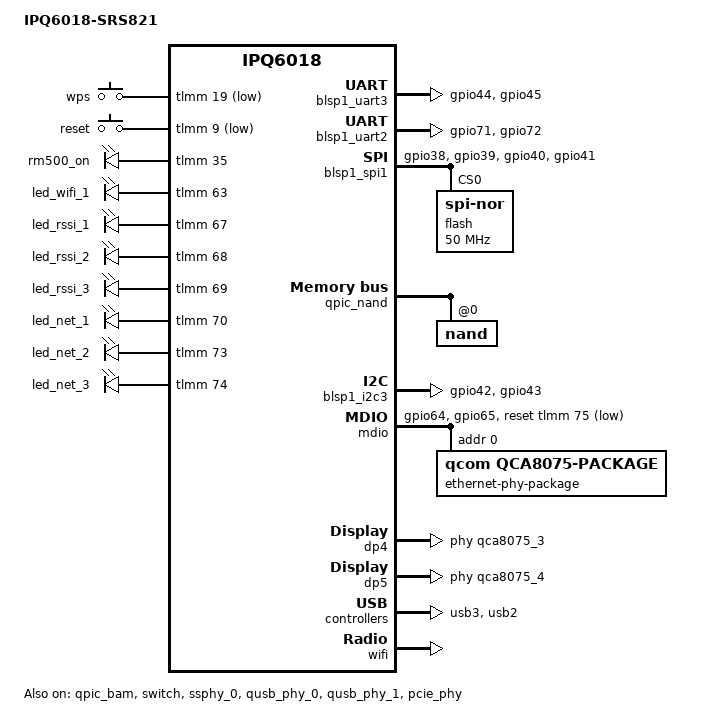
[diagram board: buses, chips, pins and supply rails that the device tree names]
// SPDX-License-Identifier: GPL-2.0-or-later
// Device Tree Source for Ruijie IPQ6018-based router
// Generated from live DTB dump
// Board: qcom,ipq6018-cp01-c1 variant
// SoC:   Qualcomm IPQ6018 (4x Cortex-A53, 800 MHz)
// RAM:   512 MiB
// Flash: 256 MiB NAND (QPIC)
// WiFi:  IPQ6018 integrated (2.4/5 GHz) + optional QCN9000 PCIe
// ETH:   5x SGMII via QCA ESS-SWITCH (dp1-dp5)
// USB:   1x USB3 + 1x USB2
// PCIe:  1x Gen3

/dts-v1/;

#include "ipq6018-512m.dtsi"
#include "ipq6018-ess.dtsi"
#include "ipq6018-nss.dtsi"
#include <dt-bindings/gpio/gpio.h>
#include <dt-bindings/input/input.h>
#include <dt-bindings/leds/common.h>

/ {
	model = "IPQ6018-SRS821";
	compatible = "smwave,srs821", "qcom,ipq6018";

	aliases {
		serial0   = &blsp1_uart3;   /* /soc/serial@78b1000 — console */
		serial2   = &blsp1_uart2;   /* /soc/serial@78b0000 */
	};

	chosen {
		stdout-path = "serial0:115200n8";
		bootargs-append = " root=/dev/ubiblock0_1 rootfstype=squashfs rootwait";
	};

	/*
	 * GPIO buttons
	 * WPS:   GPIO 19 (active-low)
	 * Reset: GPIO 9  (active-low)
	 */
	gpio-keys {
		compatible = "gpio-keys";
		pinctrl-0 = <&button_pins>;
		pinctrl-names = "default";

		wps {
			label = "wps";
			linux,code = <KEY_WPS_BUTTON>;
			gpios = <&tlmm 19 GPIO_ACTIVE_LOW>;
			linux,input-type = <EV_KEY>;
			debounce-interval = <60>;
		};

		reset {
			label = "reset";
			linux,code = <KEY_RESTART>;
			gpios = <&tlmm 9 GPIO_ACTIVE_LOW>;
			linux,input-type = <EV_KEY>;
			debounce-interval = <60>;
		};
	};

	/*
	 * GPIO LEDs
	 * GPIO 35: RM500 modem power indicator (active-high, default on)
	 * GPIO 63: Wi-Fi LED        (active-high)
	 * GPIO 67: RSSI bar 1       (active-high)
	 * GPIO 68: RSSI bar 2       (active-high)
	 * GPIO 69: RSSI bar 3       (active-high)
	 * GPIO 70: Net LED 1        (active-high)
	 * GPIO 73: Net LED 2        (active-high)
	 * GPIO 74: Net LED 3        (active-high)
	 */
	gpio-leds {
		compatible = "gpio-leds";
		pinctrl-0 = <&leds_pins>;
		pinctrl-names = "default";

		rm500_on {
			label = "rm500_on";
			gpios = <&tlmm 35 GPIO_ACTIVE_HIGH>;
			linux,default-trigger = "rm500_on";
			default-state = "on";
		};

		led_wifi_1 {
			label = "led_wifi_1";
			gpios = <&tlmm 63 GPIO_ACTIVE_HIGH>;
			linux,default-trigger = "led_wifi_1";
			default-state = "off";
		};

		led_rssi_1 {
			label = "led_rssi_1";
			gpios = <&tlmm 67 GPIO_ACTIVE_HIGH>;
			linux,default-trigger = "led_rssi_1";
			default-state = "off";
		};

		led_rssi_2 {
			label = "led_rssi_2";
			gpios = <&tlmm 68 GPIO_ACTIVE_HIGH>;
			linux,default-trigger = "led_rssi_2";
			default-state = "off";
		};

		led_rssi_3 {
			label = "led_rssi_3";
			gpios = <&tlmm 69 GPIO_ACTIVE_HIGH>;
			linux,default-trigger = "led_rssi_3";
			default-state = "off";
		};

		led_net_1 {
			label = "led_net_1";
			gpios = <&tlmm 70 GPIO_ACTIVE_HIGH>;
			linux,default-trigger = "led_net_1";
			default-state = "off";
		};

		led_net_2 {
			label = "led_net_2";
			gpios = <&tlmm 73 GPIO_ACTIVE_HIGH>;
			linux,default-trigger = "led_net_2";
			default-state = "off";
		};

		led_net_3 {
			label = "led_net_3";
			gpios = <&tlmm 74 GPIO_ACTIVE_HIGH>;
			linux,default-trigger = "led_net_3";
			default-state = "off";
		};
	};
};

/* =====================================================================
 * SoC node overrides
 * ===================================================================== */

&tlmm {
	/*
	 * Console UART: GPIO 44 (TX) / 45 (RX) — blsp2_uart / serial@78b1000
	 * Baud: 115200n8
	 */
	uart_pins: uart-pins {
		pins = "gpio44", "gpio45";
		function = "blsp2_uart";
		drive-strength = <8>;
		bias-pull-down;
	};

	/* BLSP1 UART (RS-232): GPIO 71 / 72 */
	hsuart_232_pins: hsuart-232-pins {
		pins = "gpio71", "gpio72";
		function = "blsp1_uart";
		drive-strength = <8>;
		bias-disable;
	};

	/* BLSP4 UART (RS-485): GPIO 57 / 58 */
	hsuart_485_pins: hsuart-485-pins {
		pins = "gpio57", "gpio58";
		function = "blsp4_uart";
		drive-strength = <8>;
		bias-disable;
	};

	/* SPI0: GPIO 38–41 (NOR flash, n25q128a11) */
	spi_0_pins: spi-0-pins {
		pins = "gpio38", "gpio39", "gpio40", "gpio41";
		function = "blsp0_spi";
		drive-strength = <8>;
		bias-pull-down;
	};

	/* USB ID sense: GPIO 26 */
	extcon_usb_pins: extcon-usb-pins {
		pins = "gpio26";
		function = "gpio";
		drive-strength = <2>;
		bias-pull-down;
	};

	/* MDIO: GPIO 64 (MDC) / 65 (MDIO) */
	/* PHY reset: GPIO 75, 77 */
	mdio_pins: mdio-pins {
		mdc  { pins = "gpio64"; function = "mdc";  drive-strength = <8>; bias-pull-up; };
		mdio { pins = "gpio65"; function = "mdio"; drive-strength = <8>; bias-pull-up; };
	};

	/* GPIO buttons */
	button_pins: button-pins {
		wps   { pins = "gpio19"; function = "gpio"; drive-strength = <8>; bias-pull-up; };
		reset { pins = "gpio9";  function = "gpio"; drive-strength = <8>; bias-pull-up; };
	};

	/* GPIO LEDs */
	leds_pins: leds-pins {
		rm500  { pins = "gpio35"; function = "gpio"; drive-strength = <8>; bias-pull-up; };
		wifi   { pins = "gpio63"; function = "gpio"; drive-strength = <8>; bias-pull-down; };
		rssi1  { pins = "gpio67"; function = "gpio"; drive-strength = <8>; bias-pull-down; };
		rssi2  { pins = "gpio68"; function = "gpio"; drive-strength = <8>; bias-pull-down; };
		rssi3  { pins = "gpio69"; function = "gpio"; drive-strength = <8>; bias-pull-down; };
		net1   { pins = "gpio70"; function = "gpio"; drive-strength = <8>; bias-pull-down; };
		net2   { pins = "gpio73"; function = "gpio"; drive-strength = <8>; bias-pull-down; };
		net3   { pins = "gpio74"; function = "gpio"; drive-strength = <8>; bias-pull-down; };
	};

	/* I2C1: GPIO 42 (SDA) / 43 (SCL) */
	i2c_1_pins: i2c-1-pins {
		pins = "gpio42", "gpio43";
		function = "blsp2_i2c";
		drive-strength = <8>;
		bias-pull-down;
	};
};

&blsp1_uart3 {
	pinctrl-0 = <&uart_pins>;
	pinctrl-names = "default";
	status = "okay";
};

/* RS-232: serial@78b0000 */
&blsp1_uart2 {
	pinctrl-0 = <&hsuart_232_pins>;
	pinctrl-names = "default";
	status = "okay";
};

/* =====================================================================
 * SPI / NOR (n25q128a11 on CS0)
 * ===================================================================== */
&blsp1_spi1 {
	pinctrl-0 = <&spi_0_pins>;
	pinctrl-names = "default";
	cs-select = <0>;
	status = "okay";

	flash@0 {
		compatible = "jedec,spi-nor";
		reg = <0>;
		spi-max-frequency = <50000000>;
		#address-cells = <1>;
		#size-cells = <1>;
	};
};

&qpic_bam {
	status = "okay";
};

&qpic_nand {
	status = "okay";

	nand@0 {
		reg = <0>;
		nand-ecc-strength = <4>;
		nand-ecc-step-size = <512>;
		nand-bus-width = <8>;
		
		partitions {
			compatible = "qcom,smem-part";
		};
	};	
};

&blsp1_i2c3 {
	pinctrl-0 = <&i2c_1_pins>;
	pinctrl-names = "default";
	status = "okay";
};

&mdio {
	pinctrl-0 = <&mdio_pins>;
	pinctrl-names = "default";
	status = "okay";
	reset-gpios = <&tlmm 75 GPIO_ACTIVE_LOW>, <&tlmm 77 GPIO_ACTIVE_HIGH>;

	ethernet-phy-package@0 {
		compatible = "qcom,qca8075-package";
		#address-cells = <1>;
		#size-cells = <0>;
		reg = <0>;

		qca8075_0: ethernet-phy@0 {
			compatible = "ethernet-phy-ieee802.3-c22";
			reg = <0>;
		};
		qca8075_1: ethernet-phy@1 {
			compatible = "ethernet-phy-ieee802.3-c22";
			reg = <1>;
		};
		qca8075_2: ethernet-phy@2 {
			compatible = "ethernet-phy-ieee802.3-c22";
			reg = <2>;
		};
		qca8075_3: ethernet-phy@3 {
			compatible = "ethernet-phy-ieee802.3-c22";
			reg = <3>;
		};

		qca8075_4: ethernet-phy@4 {
			compatible = "ethernet-phy-ieee802.3-c22";
			reg = <4>;
		};
	};
};

&switch {
	status = "okay";
	switch_lan_bmp = <(ESS_PORT4)>;
	switch_wan_bmp = <ESS_PORT5>;
	switch_mac_mode = <MAC_MODE_PSGMII>;
	
	qcom,port_phyinfo {
		port@4 {
			port_id = <4>;
			phy_address = <3>;
		};
		port@5 {
			port_id = <5>;
			phy_address = <4>;
		};
	};
};

&edma {
	status = "okay";
};

&dp4 {
	status = "okay";
	phy-handle = <&qca8075_3>;
	label = "lan";
};

&dp5 {
	status = "okay";
	phy-handle = <&qca8075_4>;
	label = "wan";
};

&ssphy_0 {
	status = "okay";
};

&qusb_phy_0 {
	status = "okay";
};

&qusb_phy_1 {
	status = "okay";
};

&usb3 {
	status = "okay";
};

&usb2 {
	status = "okay";
};

&pcie_phy {
	status = "okay";
};

&wifi {
	status = "okay";
	qcom,ath11k-calibration-variant = "GL-iNet-GL-AX1800";
	qcom,ath11k-fw-memory-mode = <1>;
};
